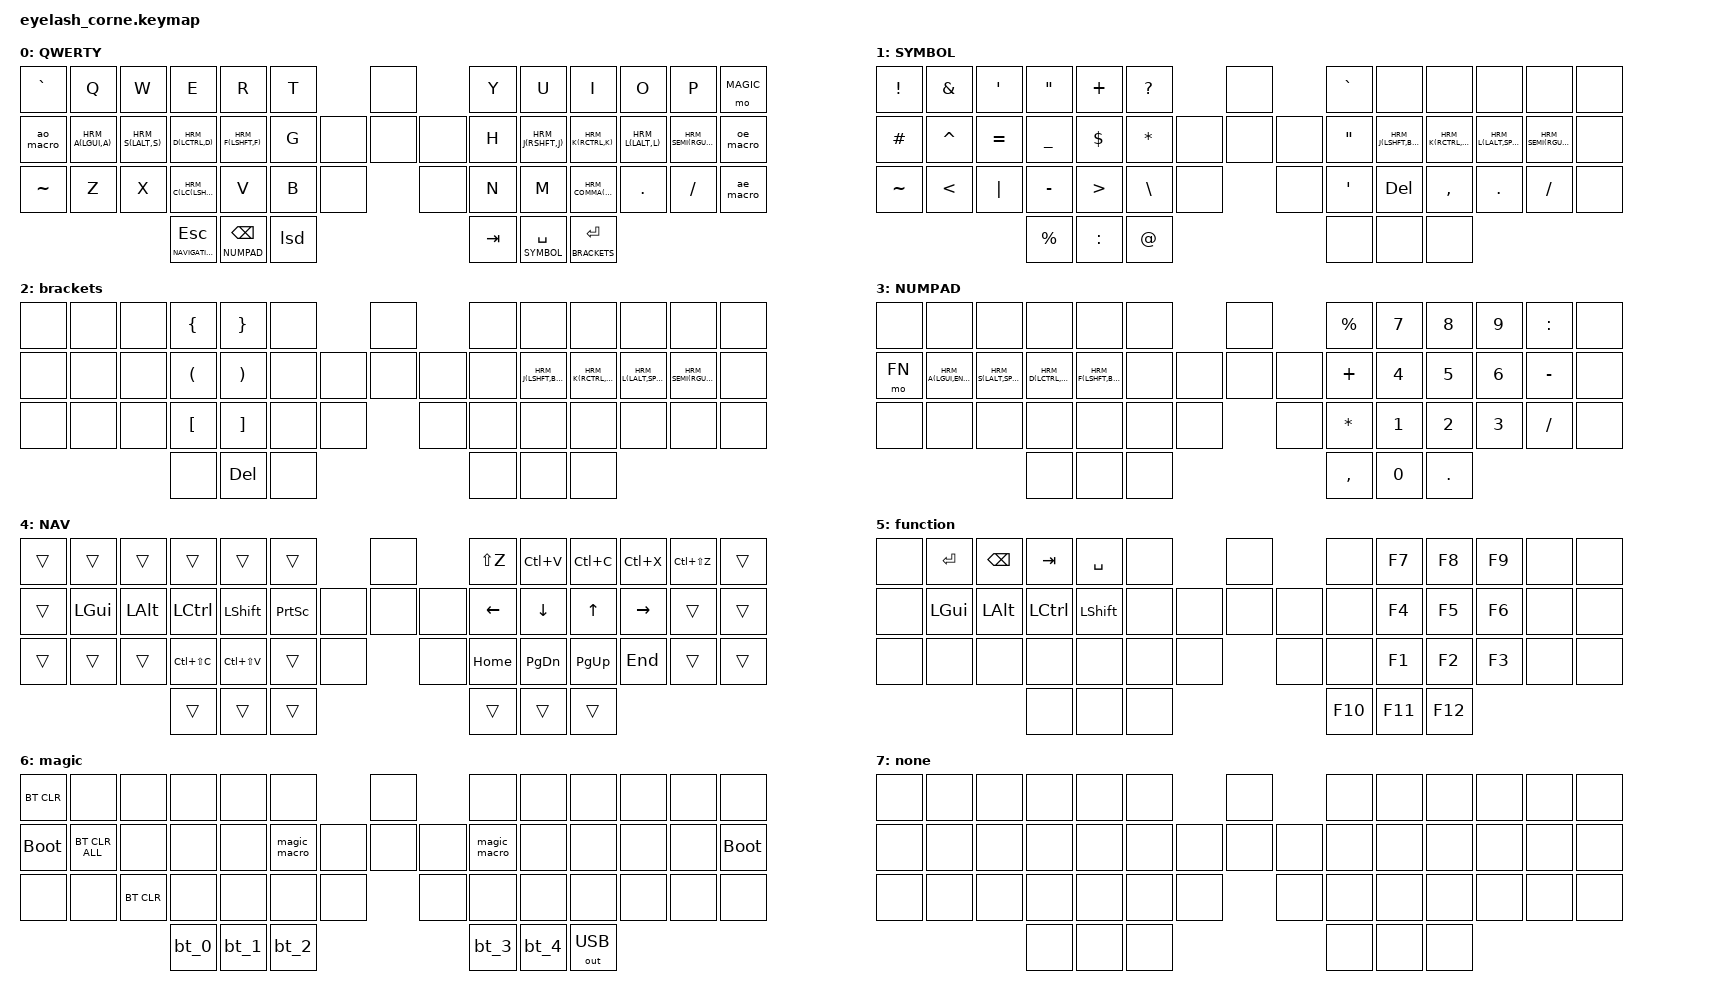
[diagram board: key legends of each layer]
#define ZMK_POINTING_DEFAULT_MOVE_VAL 1200  // 600
#define ZMK_POINTING_DEFAULT_SCRL_VAL 25   // 10

#include <input/processors.dtsi>
#include <zephyr/dt-bindings/input/input-event-codes.h>
#include <behaviors.dtsi>
#include <dt-bindings/zmk/bt.h>
#include <dt-bindings/zmk/keys.h>
#include <dt-bindings/zmk/outputs.h>
#include <dt-bindings/zmk/pointing.h>
#include <dt-bindings/zmk/rgb.h>

// Eyelash corne key positions. Source missing
    // |------------------------|----------------------------|
    // | LEFT_HAND_KEYS         |            RIGHT_HAND_KEYS |
    // |                        |                            |
    // | 0  1  2  3  4  5       |    6     7  8  9  10 11 12 |
    // | 13 14 15 16 17 18      | 19 20 21 22 23 24 25 26 27 |
    // | 28 29 30 31 32 33 34   |    35    36 37 38 39 40 41 |
    // |          42 43 44      |          45 46 47          |
    // |------------------------|----------------------------|


#define LEFT_HAND_KEYS    \
        0  1  2  3  4  5  \
        13 14 15 16 17 18 \
        28 29 30 31 32 33 \

#define RIGHT_HAND_KEYS   \
        7  8  9  10 11 12 \
        22 23 24 25 26 27 \
        36 37 38 39 40 41 \

#define THUMB_KEYS 42 43 44 45 46 47

#define QUICKTAP 150
#define QUICKTAP_PINKY 180
#define QUICKTAP_RING 130
#define QUICKTAP_MIDDLE 130
#define QUICKTAP_INDEX 130
#define INDEX_TAPPINGTERM 200
#define MIDDLE_TAPPINGTERM 230
#define RING_TAPPINGTERM 240
#define PINKY_TAPPINGTERM 260

#define BASE 0
#define SYMBOL 1
#define BRACKETS 2
#define NUMPAD 3
#define NAVIGATION 4
#define FN 5
#define MAGIC 6
#define NONE 7

#define COMBO_TIMEOUT 40
#define COMBO_PRIOR_IDLE 140


// TODO: Rename

#define HRM_A(modifier,key) hrm_left_pinky modifier key
#define HRM_S(modifier,key) hrm_left_ring modifier key
#define HRM_D(modifier,key) hrm_left_middle modifier key
#define HRM_F(modifier,key) hrm_left_index modifier key
#define HRM_C(modifier,key) hrm_left_middle modifier key

#define HRM_J(modifier,key) hrm_right_index modifier key
#define HRM_K(modifier,key) hrm_right_middle modifier key
#define HRM_L(modifier,key) hrm_right_ring modifier key
#define HRM_SEMI(modifier,key) hrm_right_pinky modifier key
#define HRM_COMMA(modifier,key) hrm_right_middle modifier key


&mmv_input_listener { input-processors = <&zip_xy_scaler 2 1>; };

&msc_input_listener { input-processors = <&zip_scroll_scaler 2 1>; };

&msc {
    acceleration-exponent = <1>;      // 0
    time-to-max-speed-ms = <100>;       // 300
    delay-ms = <0>;                   // 0
};

&mmv {
    time-to-max-speed-ms = <500>;
    acceleration-exponent = <1>;
    trigger-period-ms = <16>;
};

&caps_word {
    /delete-property/ ignore-modifiers;
};



/ {
    macros {

        bt_0: bt_0 {
            label = "BT_0";
            compatible = "zmk,behavior-macro";
            #binding-cells = <0>;
            bindings
                = <&out OUT_BLE>,
                  <&bt BT_SEL 0>;
        };
        bt_1: bt_1 {
            label = "BT_1";
            compatible = "zmk,behavior-macro";
            #binding-cells = <0>;
            bindings
                = <&out OUT_BLE>,
                  <&bt BT_SEL 1>;
        };
        bt_2: bt_2 {
            label = "BT_2";
            compatible = "zmk,behavior-macro";
            #binding-cells = <0>;
            bindings
                = <&out OUT_BLE>,
                  <&bt BT_SEL 2>;
        };
        bt_3: bt_3 {
            label = "BT_3";
            compatible = "zmk,behavior-macro";
            #binding-cells = <0>;
            bindings
                = <&out OUT_BLE>,
                  <&bt BT_SEL 3>;
        };
        bt_4: bt_4 {
            label = "BT_4";
            compatible = "zmk,behavior-macro";
            #binding-cells = <0>;
            bindings
                = <&out OUT_BLE>,
                  <&bt BT_SEL 4>;
        };

        // Create Å character in a macro using Alt-gr
        ao_macro: ao_macro {
            label = "&AO_MACRO";
            compatible = "zmk,behavior-macro";
            #binding-cells = <0>;
            bindings = <&macro_press>
                , <&kp RALT>
                , <&macro_tap>
                , <&kp A>
                , <&macro_release>
                , <&kp RALT>
                , <&macro_tap>
                , <&kp A>;
        };

        // Create Ä character in a macro using Alt-gr
        ae_macro: ae_macro {
            label = "&AE_MACRO";
            compatible = "zmk,behavior-macro";
            #binding-cells = <0>;
            bindings = <&macro_press>
                , <&kp RALT>
                , <&macro_tap>
                , <&kp A>
                , <&macro_release>
                , <&kp RALT>
                , <&macro_press>
                , <&kp LSHFT>
                , <&macro_tap>
                , <&kp SQT>
                , <&macro_release>
                , <&kp LSHFT>;
        };

        // Create Ö character in a macro using Alt-gr
        oe_macro: oe_macro {
            label = "&OE_MACRO";
            compatible = "zmk,behavior-macro";
            #binding-cells = <0>;
            bindings = <&macro_press>
                , <&kp RALT>
                , <&macro_tap>
                , <&kp O>
                , <&macro_release>
                , <&kp RALT>
                , <&macro_press>
                , <&kp LSHFT>
                , <&macro_tap>
                , <&kp SQT>
                , <&macro_release>
                , <&kp LSHFT>;
        };
        magic_macro: magic_macro {
            label = "&magic_macro";
            compatible = "zmk,behavior-macro";
            #binding-cells = <0>;
            bindings = <&macro_tap>
                     , <&kp M>
                     , <&macro_tap>
                     , <&kp A>
                     , <&macro_tap>
                     , <&kp G>
                     , <&macro_tap>
                     , <&kp I>
                     , <&macro_tap>
                     , <&kp C>;
        };
    };

      combos {
        compatible = "zmk,combos";
        combo_ao {
            timeout-ms = <COMBO_TIMEOUT>;
            key-positions = <14 10>;
            bindings = <&ao_macro>;
            layers = <BASE>;
            require-prior-idle-ms = <COMBO_PRIOR_IDLE>;
        };
        combo_ae {
            timeout-ms = <COMBO_TIMEOUT>;
            key-positions = <14 3>;
            bindings = <&ae_macro>;
            layers = <BASE>;
            require-prior-idle-ms = <COMBO_PRIOR_IDLE>;
        };

        combo_oe {
            timeout-ms = <COMBO_TIMEOUT>;
            key-positions = <3 10>;
            bindings = <&oe_macro>;
            layers = <BASE>;
            require-prior-idle-ms = <COMBO_PRIOR_IDLE>;
        };
        combo_braces_left {
            timeout-ms = <COMBO_TIMEOUT>;
            key-positions = <3 4>;
            bindings = <&kp LBRC>;
            layers = <BASE SYMBOL NUMPAD>;
            require-prior-idle-ms = <COMBO_PRIOR_IDLE>;
        };
        combo_parens_left {
            timeout-ms = <COMBO_TIMEOUT>;
            key-positions = <16 17>;
            bindings = <&kp LPAR>;
            layers = <BASE SYMBOL NUMPAD>;
            require-prior-idle-ms = <COMBO_PRIOR_IDLE>;
        };
        combo_bracket_left {
            timeout-ms = <COMBO_TIMEOUT>;
            key-positions = <31 32>;
            bindings = <&kp LBKT>;
            layers = <BASE SYMBOL NUMPAD>;
            require-prior-idle-ms = <COMBO_PRIOR_IDLE>;
        };
        combo_braces_right {
            timeout-ms = <COMBO_TIMEOUT>;
            key-positions = <8 9>;
            bindings = <&kp RBRC>;
            layers = <BASE SYMBOL NUMPAD>;
            require-prior-idle-ms = <COMBO_PRIOR_IDLE>;
        };
        combo_parens_right {
            timeout-ms = <COMBO_TIMEOUT>;
            key-positions = <23 24>;
            bindings = <&kp RPAR>;
            layers = <BASE SYMBOL NUMPAD>;
            require-prior-idle-ms = <COMBO_PRIOR_IDLE>;
        };
        combo_bracket_right {
            timeout-ms = <COMBO_TIMEOUT>;
            key-positions = <37 38>;
            bindings = <&kp RBKT>;
            layers = <BASE SYMBOL NUMPAD>;
            require-prior-idle-ms = <COMBO_PRIOR_IDLE>;
        };
        combo_double_quotes {
            timeout-ms = <COMBO_TIMEOUT>;
            key-positions = <2 3>;
            bindings = <&kp DQT>;
            layers = <BASE SYMBOL NUMPAD>;
            require-prior-idle-ms = <COMBO_PRIOR_IDLE>;
        };
        combo_single_quotes {
            timeout-ms = <COMBO_TIMEOUT>;
            key-positions = <9 10>;
            bindings = <&kp SQT>;
            layers = <BASE SYMBOL NUMPAD>;
            require-prior-idle-ms = <COMBO_PRIOR_IDLE>;
        };
        combo_zero {
            timeout-ms = <COMBO_TIMEOUT>;
            key-positions = <43 46>;
            bindings = <&kp N0>;
            layers = <BASE SYMBOL>;
            require-prior-idle-ms = <COMBO_PRIOR_IDLE>;
        };
        combo_one {
            timeout-ms = <COMBO_TIMEOUT>;
            key-positions = <43 37>;
            bindings = <&kp N1>;
            layers = <BASE SYMBOL>;
            require-prior-idle-ms = <COMBO_PRIOR_IDLE>;
        };
        combo_two {
            timeout-ms = <COMBO_TIMEOUT>;
            key-positions = <43 38>;
            bindings = <&kp N2>;
            layers = <BASE SYMBOL>;
            require-prior-idle-ms = <COMBO_PRIOR_IDLE>;
        };
        combo_three {
            timeout-ms = <COMBO_TIMEOUT>;
            key-positions = <43 39>;
            bindings = <&kp N3>;
            layers = <BASE SYMBOL>;
            require-prior-idle-ms = <COMBO_PRIOR_IDLE>;
        };
        combo_four {
            timeout-ms = <COMBO_TIMEOUT>;
            key-positions = <43 23>;
            bindings = <&kp N4>;
            layers = <BASE SYMBOL>;
            require-prior-idle-ms = <COMBO_PRIOR_IDLE>;
        };
        combo_five {
            timeout-ms = <COMBO_TIMEOUT>;
            key-positions = <43 24>;
            bindings = <&kp N5>;
            layers = <BASE SYMBOL>;
            require-prior-idle-ms = <COMBO_PRIOR_IDLE>;
        };
        combo_six {
            timeout-ms = <COMBO_TIMEOUT>;
            key-positions = <43 25>;
            bindings = <&kp N6>;
            layers = <BASE SYMBOL>;
            require-prior-idle-ms = <COMBO_PRIOR_IDLE>;
        };
        combo_seven {
            timeout-ms = <COMBO_TIMEOUT>;
            key-positions = <43 8>;
            bindings = <&kp N7>;
            layers = <BASE SYMBOL>;
            require-prior-idle-ms = <COMBO_PRIOR_IDLE>;
        };
        combo_eight {
            timeout-ms = <COMBO_TIMEOUT>;
            key-positions = <43 9>;
            bindings = <&kp N8>;
            layers = <BASE SYMBOL>;
            require-prior-idle-ms = <COMBO_PRIOR_IDLE>;
        };
        combo_nine {
            timeout-ms = <COMBO_TIMEOUT>;
            key-positions = <43 10>;
            bindings = <&kp N9>;
            layers = <BASE SYMBOL>;
            require-prior-idle-ms = <COMBO_PRIOR_IDLE>;
        };
        combo_caps_word {
            timeout-ms = <COMBO_TIMEOUT>;
            key-positions = <44 45>;
            layers = <BASE>;
            bindings = <&caps_word>;
            require-prior-idle-ms = <COMBO_PRIOR_IDLE>;
        };
      };



behaviors {
    lt {
        flavor = "hold-preferred";
    };
    skp: sticky_key_press_quick {
        compatible = "zmk,behavior-sticky-key";
        #binding-cells = <1>;
        bindings = <&kp>;
        release-after-ms = <1000>;
        quick-release;
        ignore-modifiers;
    };
    lsd: left_shift_dance {
        compatible = "zmk,behavior-tap-dance";
        #binding-cells = <0>;
        tapping-term-ms = <300>;
        bindings = <&skp LSHIFT>, <&caps_word>;
    };
    hrm_left_pinky: hrm_left_pinky {
        compatible = "zmk,behavior-hold-tap";
        flavor = "balanced";
        hold-trigger-key-positions = <RIGHT_HAND_KEYS THUMB_KEYS>;
        hold-trigger-on-release; // wait for other home row mods
        tapping-term-ms = <PINKY_TAPPINGTERM>;
        quick-tap-ms = <250>;
        #binding-cells = <2>;
        bindings = <&kp>, <&kp>;
    };
    hrm_left_ring: hrm_left_ring {
        compatible = "zmk,behavior-hold-tap";
        flavor = "balanced";
        hold-trigger-key-positions = <RIGHT_HAND_KEYS THUMB_KEYS>;
        hold-trigger-on-release; // wait for other home row mods
        tapping-term-ms = <RING_TAPPINGTERM>;
        quick-tap-ms = <QUICKTAP_RING>;
        #binding-cells = <2>;
        bindings = <&kp>, <&kp>;
    };
    hrm_left_middle: hrm_left_middle {
        compatible = "zmk,behavior-hold-tap";
        flavor = "balanced";
        hold-trigger-key-positions = <RIGHT_HAND_KEYS THUMB_KEYS>;
        hold-trigger-on-release; // wait for other home row mods
        tapping-term-ms = <MIDDLE_TAPPINGTERM>;
        quick-tap-ms = <QUICKTAP_MIDDLE>;
        #binding-cells = <2>;
        bindings = <&kp>, <&kp>;
    };
    hrm_left_index: hrm_left_index {
        compatible = "zmk,behavior-hold-tap";
        flavor = "balanced";
        hold-trigger-key-positions = <RIGHT_HAND_KEYS THUMB_KEYS>;
        hold-trigger-on-release; // wait for other home row mods
        tapping-term-ms = <INDEX_TAPPINGTERM>;
        quick-tap-ms = <QUICKTAP_INDEX>;
        #binding-cells = <2>;
        bindings = <&kp>, <&kp>;
    };

    hrm_right_pinky: hrm_right_pinky {
        compatible = "zmk,behavior-hold-tap";
        flavor = "balanced";
        hold-trigger-key-positions = <LEFT_HAND_KEYS THUMB_KEYS>;
        hold-trigger-on-release; // wait for other home row mods
        tapping-term-ms = <PINKY_TAPPINGTERM>;
        quick-tap-ms = <QUICKTAP_PINKY>;
        #binding-cells = <2>;
        bindings = <&kp>, <&kp>;
    };
    hrm_right_ring: hrm_right_ring {
        compatible = "zmk,behavior-hold-tap";
        flavor = "balanced";
        hold-trigger-key-positions = <LEFT_HAND_KEYS THUMB_KEYS>;
        hold-trigger-on-release; // wait for other home row mods
        tapping-term-ms = <RING_TAPPINGTERM>;
        quick-tap-ms = <QUICKTAP_RING>;
        #binding-cells = <2>;
        bindings = <&kp>, <&kp>;
    };
    hrm_right_middle: hrm_right_middle {
        compatible = "zmk,behavior-hold-tap";
        flavor = "balanced";
        hold-trigger-key-positions = <LEFT_HAND_KEYS THUMB_KEYS>;
        hold-trigger-on-release; // wait for other home row mods
        tapping-term-ms = <MIDDLE_TAPPINGTERM>;
        quick-tap-ms = <QUICKTAP_MIDDLE>;
        #binding-cells = <2>;
        bindings = <&kp>, <&kp>;
    };
    hrm_right_index: hrm_right_index {
        compatible = "zmk,behavior-hold-tap";
        flavor = "balanced";
        hold-trigger-key-positions = <LEFT_HAND_KEYS THUMB_KEYS>;
        hold-trigger-on-release; // wait for other home row mods
        tapping-term-ms = <INDEX_TAPPINGTERM>;
        quick-tap-ms = <QUICKTAP_INDEX>;
        #binding-cells = <2>;
        bindings = <&kp>, <&kp>;
    };
    lht: layer_hold_tap {
        compatible = "zmk,behavior-hold-tap";
        #binding-cells = <2>;
        tapping-term-ms = <150>;
        bindings = <&mo>, <&kp>;
        flavor = "tap-preferred";
        quick-tap-ms = <QUICKTAP>;
    };

    behaviors {
        leader1: leader1 {
            compatible = "zmk,behavior-leader-key";
            #binding-cells = <0>;
            oe { sequence = <O>; bindings = <&oe_macro>; };
            ae { sequence = <E>; bindings = <&ae_macro>; };
            ao { sequence = <A>; bindings = <&ao_macro>; };
        };
    };
};

    keymap {
        compatible = "zmk,keymap";

        layer_base {
            display-name = "QWERTY";
            bindings = <
                &kp GRAVE   &kp Q          &kp W          &kp E                &kp R                 &kp T                    &none               &kp Y        &kp U             &kp I                       &kp O          &kp P                 &mo MAGIC
                &ao_macro   &HRM_A(LGUI,A) &HRM_S(LALT,S) &HRM_D(LCTRL,D)      &HRM_F(LSHFT,F)       &kp G              &none &none &none         &kp H        &HRM_J(RSHFT,J)   &HRM_K(RCTRL,K)             &HRM_L(LALT,L) &HRM_SEMI(RGUI,SEMI)  &oe_macro
                &kp TILDE   &kp Z          &kp X          &HRM_C(LC(LSHFT),C)  &kp V                 &kp B        &none       &none               &kp N        &kp M             &HRM_COMMA(RC(RSHFT),COMMA) &kp DOT        &kp SLASH             &ae_macro
                                                          &lht NAVIGATION ESC  &lht NUMPAD BSPC      &lsd                                         &kp TAB      &lht SYMBOL SPACE &lht BRACKETS ENTER

            >;
        };

        // missing: {}()[]
        layer_symbol {
             display-name = "SYMBOL";
             bindings = <
                 &kp EXCL   &kp AMPS   &kp SQT   &kp DQT         &kp PLUS    &kp QMARK                      &none                  &kp GRAVE  &none              &none              &none               &none                  &none
                 &kp HASH   &kp CARET  &kp EQUAL &kp UNDERSCORE  &kp DOLLAR  &kp STAR                 &none &none &none            &kp DQT    &HRM_J(LSHFT,BSPC) &HRM_K(RCTRL,TAB)  &HRM_L(LALT,SPACE)  &HRM_SEMI(RGUI,ENTER)  &none
                 &kp TILDE  &kp LT     &kp PIPE  &kp MINUS       &kp GT      &kp BSLH           &none       &none                  &kp SQT    &kp DEL            &kp COMMA          &kp DOT             &kp SLASH              &none
                                                 &kp PERCENT     &kp COLON   &kp AT                                                &none      &none              &none
             >;
        };

        layer_brackets {
             display-name = "brackets";
             bindings = <
                &none &none &none &kp LBRC &kp RBRC &none                &none         &none &none              &none             &none              &none                 &none
                &none &none &none &kp LPAR &kp RPAR &none          &none &none &none   &none &HRM_J(LSHFT,BSPC) &HRM_K(RCTRL,TAB) &HRM_L(LALT,SPACE) &HRM_SEMI(RGUI,ENTER) &none
                &none &none &none &kp LBKT &kp RBKT &none    &none       &none         &none &none              &none             &none              &none                 &none
                                     &none &kp DEL  &none                              &none &none &none
             >;
        };

        layer_numpad {
             display-name = "NUMPAD";
             bindings = <
                 &none  &none              &none              &none             &none              &none                   &none           &kp PERCENT   &kp N7    &kp N8    &kp N9    &kp COLON &none
                 &mo FN &HRM_A(LGUI,ENTER) &HRM_S(LALT,SPACE) &HRM_D(LCTRL,TAB) &HRM_F(LSHFT,BSPC) &none             &none &none &none     &kp PLUS      &kp N4    &kp N5    &kp N6    &kp MINUS &none
                 &none  &none              &none              &none             &none              &none   &none           &none           &kp STAR      &kp N1    &kp N2    &kp N3    &kp SLASH &none
                                                              &none             &none              &none                                   &kp COMMA     &kp N0    &kp DOT
             >;
        };

        layer_navigation {
             display-name = "NAV";
             bindings = <
                 &trans      &trans      &trans      &trans        &trans        &trans                    &none            &kp LS(Z)      &kp LC(V)    &kp LC(C)   &kp LC(X) &kp LC(LS(Z))  &trans
                 &trans      &kp LGUI    &kp LALT    &kp LCTRL     &kp LSHFT     &kp PSCRN           &none &none &none      &kp LEFT       &kp DOWN     &kp UP      &kp RIGHT &trans         &trans
                 &trans      &trans      &trans      &kp LC(LS(C)) &kp LC(LS(V)) &trans        &none       &none            &kp HOME       &kp PG_DN    &kp PG_UP   &kp END   &trans         &trans
                                                     &trans        &trans        &trans                                     &trans         &trans       &trans
             >;
        };

        layer_function {
            display-name = "function";
             bindings = <
                 &none      &kp ENTER    &kp BSPC   &kp TAB      &kp SPACE  &none                   &none           &none         &kp F7    &kp F8    &kp F9    &none &none
                 &none      &kp LGUI     &kp LALT   &kp LCTRL    &kp LSHFT  &none             &none &none &none     &none         &kp F4    &kp F5    &kp F6    &none &none
                 &none      &none        &none      &none        &none      &none       &none       &none           &none         &kp F1    &kp F2    &kp F3    &none &none
                                                    &none        &none      &none                                   &kp F10       &kp F11   &kp F12
             >;
        };

        layer_magic {
             display-name = "magic";
             bindings = <
                &bt BT_CLR  &none          &none      &none &none &none               &none          &none        &none &none &none &none &none
                &bootloader &bt BT_CLR_ALL &none      &none &none &magic_macro  &none &none &none    &magic_macro &none &none &none &none &bootloader
                &none       &none          &bt BT_CLR &none &none &none   &none       &none          &none        &none &none &none &none &none
                                                      &bt_0 &bt_1 &bt_2                              &bt_3 &bt_4 &out OUT_USB
             >;
        };

        layer_none {
             display-name = "none";
             bindings = <
                &none &none &none &none &none &none                &none         &none &none &none &none &none &none
                &none &none &none &none &none &none           &none &none &none  &none &none &none &none &none &none
                &none &none &none &none &none &none    &none       &none         &none &none &none &none &none &none
                                  &none &none &none                              &none &none &none
             >;
        };

    };
};


